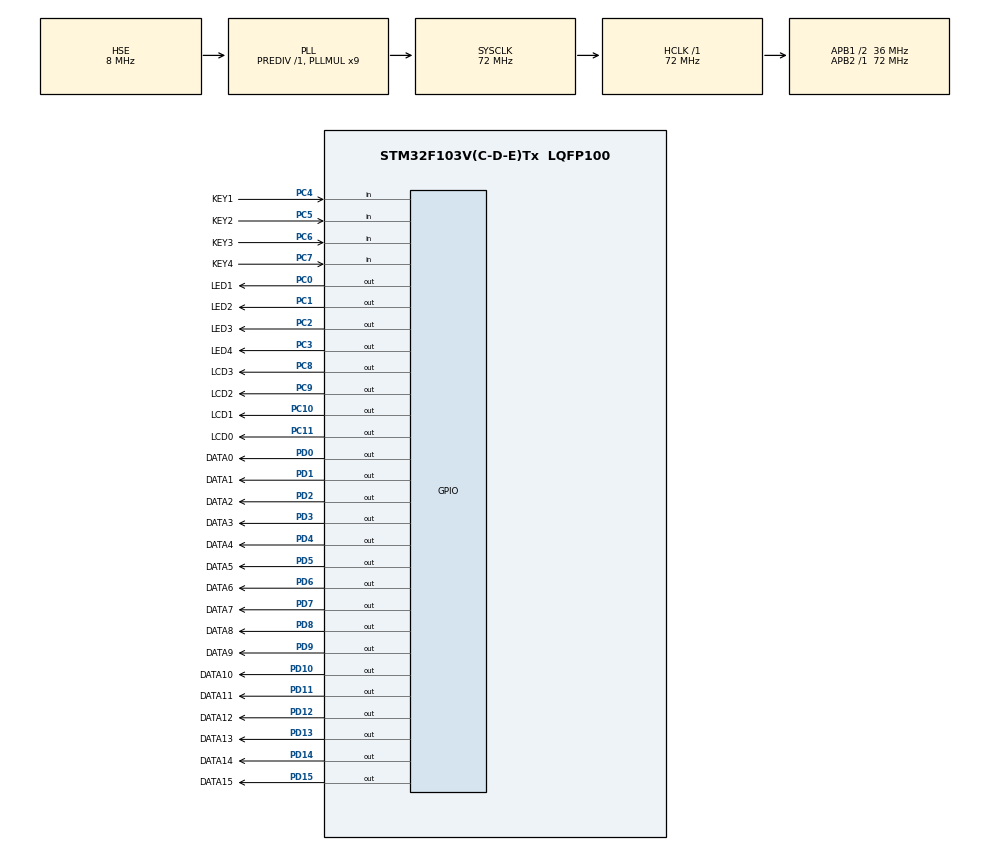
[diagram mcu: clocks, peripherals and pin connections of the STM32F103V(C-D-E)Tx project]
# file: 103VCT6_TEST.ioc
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Mcu.Family=STM32F1
Mcu.Name=STM32F103V(C-D-E)Tx
Mcu.Package=LQFP100
NVIC.PriorityGroup=NVIC_PRIORITYGROUP_4
NVIC.TIM2_IRQn=true\:0\:0\:false\:false\:true\:true\:true
OSC_IN.Mode=HSE-External-Oscillator
OSC_IN.Signal=RCC_OSC_IN
OSC_OUT.Mode=HSE-External-Oscillator
OSC_OUT.Signal=RCC_OSC_OUT
PA13.Mode=Serial_Wire
PA13.Signal=SYS_JTMS-SWDIO
PA14.Mode=Serial_Wire
PA14.Signal=SYS_JTCK-SWCLK
PC0.GPIO_Label=LED1
PC0.GPIO_ModeDefaultOutputPP=GPIO_MODE_OUTPUT_PP
PC0.GPIO_PuPd=GPIO_PULLUP
PC0.GPIO_Speed=GPIO_SPEED_FREQ_MEDIUM
PC0.PinState=GPIO_PIN_SET
PC0.Signal=GPIO_Output
PC1.GPIO_Label=LED2
PC1.GPIO_ModeDefaultOutputPP=GPIO_MODE_OUTPUT_PP
PC1.GPIO_PuPd=GPIO_PULLUP
PC1.GPIO_Speed=GPIO_SPEED_FREQ_MEDIUM
PC1.PinState=GPIO_PIN_SET
PC1.Signal=GPIO_Output
PC10.GPIO_Label=LCD1
PC10.GPIO_ModeDefaultOutputPP=GPIO_MODE_OUTPUT_PP
PC10.GPIO_PuPd=GPIO_PULLUP
PC10.PinState=GPIO_PIN_SET
PC10.Signal=GPIO_Output
PC11.GPIO_Label=LCD0
PC11.GPIO_ModeDefaultOutputPP=GPIO_MODE_OUTPUT_PP
PC11.GPIO_PuPd=GPIO_PULLUP
PC11.PinState=GPIO_PIN_SET
PC11.Signal=GPIO_Output
PC2.GPIO_Label=LED3
PC2.GPIO_ModeDefaultOutputPP=GPIO_MODE_OUTPUT_PP
PC2.GPIO_PuPd=GPIO_PULLUP
PC2.GPIO_Speed=GPIO_SPEED_FREQ_MEDIUM
PC2.PinState=GPIO_PIN_SET
PC2.Signal=GPIO_Output
PC3.GPIO_Label=LED4
PC3.GPIO_ModeDefaultOutputPP=GPIO_MODE_OUTPUT_PP
PC3.GPIO_PuPd=GPIO_PULLUP
PC3.GPIO_Speed=GPIO_SPEED_FREQ_MEDIUM
PC3.PinState=GPIO_PIN_SET
PC3.Signal=GPIO_Output
PC4.GPIO_Label=KEY1
PC4.GPIO_PuPd=GPIO_PULLUP
PC4.Signal=GPIO_Input
PC5.GPIO_Label=KEY2
PC5.GPIO_PuPd=GPIO_PULLUP
PC5.Signal=GPIO_Input
PC6.GPIO_Label=KEY3
PC6.GPIO_PuPd=GPIO_PULLUP
PC6.Signal=GPIO_Input
PC7.GPIO_Label=KEY4
PC7.GPIO_PuPd=GPIO_PULLUP
PC7.Signal=GPIO_Input
PC8.GPIO_Label=LCD3
PC8.GPIO_ModeDefaultOutputPP=GPIO_MODE_OUTPUT_PP
PC8.GPIO_PuPd=GPIO_PULLUP
PC8.PinState=GPIO_PIN_SET
PC8.Signal=GPIO_Output
PC9.GPIO_Label=LCD2
PC9.GPIO_ModeDefaultOutputPP=GPIO_MODE_OUTPUT_PP
PC9.GPIO_PuPd=GPIO_PULLUP
PC9.PinState=GPIO_PIN_SET
PC9.Signal=GPIO_Output
PD0.GPIO_Label=DATA0
PD0.GPIO_ModeDefaultOutputPP=GPIO_MODE_OUTPUT_PP
PD0.GPIO_PuPd=GPIO_PULLDOWN
PD0.PinState=GPIO_PIN_RESET
PD0.Signal=GPIO_Output
PD1.GPIO_Label=DATA1
PD1.GPIO_ModeDefaultOutputPP=GPIO_MODE_OUTPUT_PP
PD1.GPIO_PuPd=GPIO_PULLDOWN
PD1.PinState=GPIO_PIN_RESET
PD1.Signal=GPIO_Output
PD10.GPIO_Label=DATA10
PD10.Signal=GPIO_Output
PD11.GPIO_Label=DATA11
PD11.Signal=GPIO_Output
PD12.GPIO_Label=DATA12
PD12.Signal=GPIO_Output
PD13.GPIO_Label=DATA13
PD13.Signal=GPIO_Output
PD14.GPIO_Label=DATA14
PD14.Signal=GPIO_Output
PD15.GPIO_Label=DATA15
PD15.Signal=GPIO_Output
PD2.GPIO_Label=DATA2
PD2.GPIO_ModeDefaultOutputPP=GPIO_MODE_OUTPUT_PP
PD2.GPIO_PuPd=GPIO_PULLDOWN
PD2.PinState=GPIO_PIN_RESET
PD2.Signal=GPIO_Output
PD3.GPIO_Label=DATA3
PD3.GPIO_ModeDefaultOutputPP=GPIO_MODE_OUTPUT_PP
PD3.GPIO_PuPd=GPIO_PULLDOWN
PD3.PinState=GPIO_PIN_RESET
PD3.Signal=GPIO_Output
PD4.GPIO_Label=DATA4
PD4.GPIO_ModeDefaultOutputPP=GPIO_MODE_OUTPUT_PP
PD4.GPIO_PuPd=GPIO_PULLDOWN
PD4.PinState=GPIO_PIN_RESET
PD4.Signal=GPIO_Output
PD5.GPIO_Label=DATA5
PD5.GPIO_ModeDefaultOutputPP=GPIO_MODE_OUTPUT_PP
PD5.GPIO_PuPd=GPIO_PULLDOWN
PD5.PinState=GPIO_PIN_RESET
PD5.Signal=GPIO_Output
PD6.GPIO_Label=DATA6
PD6.GPIO_ModeDefaultOutputPP=GPIO_MODE_OUTPUT_PP
PD6.GPIO_PuPd=GPIO_PULLDOWN
PD6.PinState=GPIO_PIN_RESET
PD6.Signal=GPIO_Output
PD7.GPIO_Label=DATA7
PD7.GPIO_ModeDefaultOutputPP=GPIO_MODE_OUTPUT_PP
PD7.GPIO_PuPd=GPIO_PULLDOWN
PD7.PinState=GPIO_PIN_RESET
PD7.Signal=GPIO_Output
PD8.GPIO_Label=DATA8
PD8.Signal=GPIO_Output
PD9.GPIO_Label=DATA9
PD9.Signal=GPIO_Output
ProjectManager.HeapSize=0x200
ProjectManager.StackSize=0x400
ProjectManager.TargetToolchain=MDK-ARM V5.27
RCC.AHBFreq_Value=72000000
RCC.APB1CLKDivider=RCC_HCLK_DIV2
RCC.APB1Freq_Value=36000000
RCC.APB1TimFreq_Value=72000000
RCC.APB2Freq_Value=72000000
RCC.APB2TimFreq_Value=72000000
RCC.HCLKFreq_Value=72000000
RCC.PLLMUL=RCC_PLL_MUL9
RCC.PLLSourceVirtual=RCC_PLLSOURCE_HSE
RCC.SYSCLKFreq_VALUE=72000000
RCC.SYSCLKSource=RCC_SYSCLKSOURCE_PLLCLK
RCC.USBFreq_Value=72000000
TIM2.Period=1000
TIM2.Prescaler=720
VP_TIM2_VS_ClockSourceINT.Mode=Internal
board=custom

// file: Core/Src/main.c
/* USER CODE BEGIN Header */
/**
  ******************************************************************************
  * @file           : main.c
  * @brief          : Main program body
  ******************************************************************************
  * @attention
  *
  * <h2><center>&copy; Copyright (c) 2021 STMicroelectronics.
  * All rights reserved.</center></h2>
  *
  * This software component is licensed by ST under BSD 3-Clause license,
  * the "License"; You may not use this file except in compliance with the
  * License. You may obtain a copy of the License at:
  *                        opensource.org/licenses/BSD-3-Clause
  *
  ******************************************************************************
  */
/* USER CODE END Header */
#include "main.h"
#include "tim.h"
#include "gpio.h"

/* USER CODE BEGIN Includes */
#include "base.h"
/* USER CODE END Includes */

void SystemClock_Config(void);

int main(void)
{
  /* USER CODE BEGIN 1 */
  u8 i=0;
  /* USER CODE END 1 */

  /* MCU Configuration--------------------------------------------------------*/

  /* Reset of all peripherals, Initializes the Flash interface and the Systick. */
  HAL_Init();

  /* Configure the system clock */
  SystemClock_Config();

  /* Initialize all configured peripherals */
  MX_GPIO_Init();
  MX_TIM2_Init();
  /* USER CODE BEGIN 2 */
  HAL_TIM_Base_Start_IT(&htim2);
  delay_init(72);
  LED4_T;
  /* USER CODE END 2 */

  /* Infinite loop */
  while (1)
  {

    /* USER CODE BEGIN 3 */

		//ͨ��delay��ʵ������
    if(i==0){ // Q X X X
      LED4_T;
      LED1_T;
    }
    if(i==1){ // X Q X X
      LED2_T;
      LED1_T;
    }
    if(i==2){ // X X Q X
      LED3_T;
      LED2_T;
    }
    if(i++==3){// X X X Q
      LED3_T;
      LED4_T;
      i=0;
    }
    delay_ms(50);
		// key_data=KEY_Scan(1);
		// Display_7Seg_Single(key_data,1);
  }
  /* USER CODE END 3 */
}

void SystemClock_Config(void)
{
  RCC_OscInitTypeDef RCC_OscInitStruct = {0};
  RCC_ClkInitTypeDef RCC_ClkInitStruct = {0};

  /** Initializes the RCC Oscillators according to the specified parameters
  * in the RCC_OscInitTypeDef structure.
  */
  RCC_OscInitStruct.OscillatorType = RCC_OSCILLATORTYPE_HSE;
  RCC_OscInitStruct.HSEState = RCC_HSE_ON;
  RCC_OscInitStruct.HSEPredivValue = RCC_HSE_PREDIV_DIV1;
  RCC_OscInitStruct.HSIState = RCC_HSI_ON;
  RCC_OscInitStruct.PLL.PLLState = RCC_PLL_ON;
  RCC_OscInitStruct.PLL.PLLSource = RCC_PLLSOURCE_HSE;
  RCC_OscInitStruct.PLL.PLLMUL = RCC_PLL_MUL9;
  if (HAL_RCC_OscConfig(&RCC_OscInitStruct) != HAL_OK)
  {
    Error_Handler();
  }
  /** Initializes the CPU, AHB and APB buses clocks
  */
  RCC_ClkInitStruct.ClockType = RCC_CLOCKTYPE_HCLK|RCC_CLOCKTYPE_SYSCLK
                              |RCC_CLOCKTYPE_PCLK1|RCC_CLOCKTYPE_PCLK2;
  RCC_ClkInitStruct.SYSCLKSource = RCC_SYSCLKSOURCE_PLLCLK;
  RCC_ClkInitStruct.AHBCLKDivider = RCC_SYSCLK_DIV1;
  RCC_ClkInitStruct.APB1CLKDivider = RCC_HCLK_DIV2;
  RCC_ClkInitStruct.APB2CLKDivider = RCC_HCLK_DIV1;

  if (HAL_RCC_ClockConfig(&RCC_ClkInitStruct, FLASH_LATENCY_2) != HAL_OK)
  {
    Error_Handler();
  }
}

void Error_Handler(void)
{
  __disable_irq();
  while (1)
  {
  }
}

/************************ (C) COPYRIGHT STMicroelectronics *****END OF FILE****/
